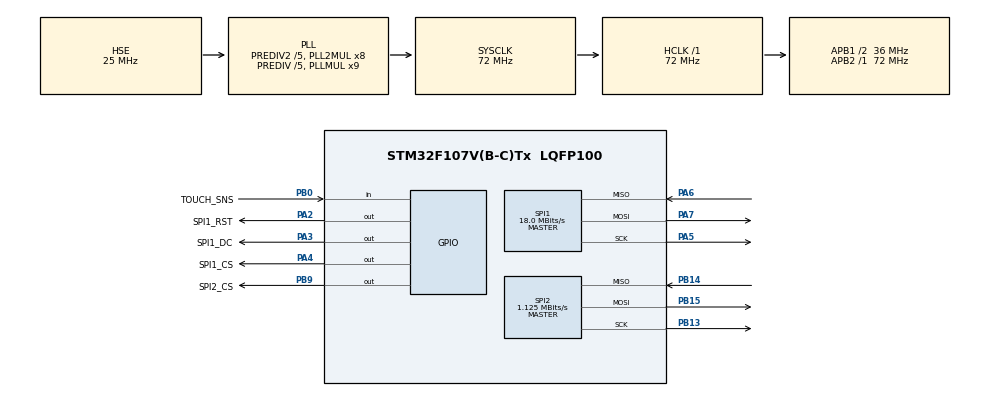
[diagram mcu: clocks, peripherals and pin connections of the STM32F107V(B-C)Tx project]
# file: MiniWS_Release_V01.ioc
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Mcu.Family=STM32F1
Mcu.Name=STM32F107V(B-C)Tx
Mcu.Package=LQFP100
NVIC.PriorityGroup=NVIC_PRIORITYGROUP_4
OSC_IN.Mode=HSE-External-Oscillator
OSC_IN.Signal=RCC_OSC_IN
OSC_OUT.Mode=HSE-External-Oscillator
OSC_OUT.Signal=RCC_OSC_OUT
PA13.Mode=Serial_Wire
PA13.Signal=SYS_JTMS-SWDIO
PA14.Mode=Serial_Wire
PA14.Signal=SYS_JTCK-SWCLK
PA2.GPIO_Label=SPI1_RST
PA2.Signal=GPIO_Output
PA3.GPIO_Label=SPI1_DC
PA3.Signal=GPIO_Output
PA4.GPIO_Label=SPI1_CS
PA4.Signal=GPIO_Output
PA5.Mode=Full_Duplex_Master
PA5.Signal=SPI1_SCK
PA6.Mode=Full_Duplex_Master
PA6.Signal=SPI1_MISO
PA7.Mode=Full_Duplex_Master
PA7.Signal=SPI1_MOSI
PB0.GPIO_Label=TOUCH_SNS
PB0.Signal=GPIO_Input
PB13.Mode=Full_Duplex_Master
PB13.Signal=SPI2_SCK
PB14.Mode=Full_Duplex_Master
PB14.Signal=SPI2_MISO
PB15.Mode=Full_Duplex_Master
PB15.Signal=SPI2_MOSI
PB9.GPIO_Label=SPI2_CS
PB9.Signal=GPIO_Output
PC14-OSC32_IN.Mode=LSE-External-Oscillator
PC14-OSC32_IN.Signal=RCC_OSC32_IN
PC15-OSC32_OUT.Mode=LSE-External-Oscillator
PC15-OSC32_OUT.Signal=RCC_OSC32_OUT
ProjectManager.HeapSize=0x200
ProjectManager.StackSize=0x400
ProjectManager.TargetToolchain=SW4STM32
RCC.AHBFreq_Value=72000000
RCC.APB1CLKDivider=RCC_HCLK_DIV2
RCC.APB1Freq_Value=36000000
RCC.APB1TimFreq_Value=72000000
RCC.APB2Freq_Value=72000000
RCC.APB2TimFreq_Value=72000000
RCC.HCLKFreq_Value=72000000
RCC.HSEDivPLL=RCC_HSE_PREDIV_DIV5
RCC.HSE_VALUE=25000000
RCC.PLLMUL=RCC_PLL_MUL9
RCC.PLLSourceVirtual=RCC_PLLSOURCE_HSE
RCC.Prediv1Source=RCC_PREDIV1_SOURCE_PLL2
RCC.Prediv2=RCC_HSE_PREDIV2_DIV5
RCC.SYSCLKFreq_VALUE=72000000
RCC.SYSCLKSource=RCC_SYSCLKSOURCE_PLLCLK
RCC.USBFreq_Value=48000000
SPI1.BaudRatePrescaler=SPI_BAUDRATEPRESCALER_4
SPI1.CalculateBaudRate=18.0 MBits/s
SPI1.Direction=SPI_DIRECTION_2LINES
SPI1.Mode=SPI_MODE_MASTER
SPI1.VirtualType=VM_MASTER
SPI2.BaudRatePrescaler=SPI_BAUDRATEPRESCALER_32
SPI2.CalculateBaudRate=1.125 MBits/s
SPI2.Direction=SPI_DIRECTION_2LINES
SPI2.Mode=SPI_MODE_MASTER
SPI2.VirtualType=VM_MASTER
board=custom

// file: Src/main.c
/* USER CODE BEGIN Header */
/**
  ******************************************************************************
  * @file           : main.c
  * @brief          : Main program body
  ******************************************************************************
  * @attention
  *
  * <h2><center>&copy; Copyright (c) 2019 STMicroelectronics.
  * All rights reserved.</center></h2>
  *
  * This software component is licensed by ST under BSD 3-Clause license,
  * the "License"; You may not use this file except in compliance with the
  * License. You may obtain a copy of the License at:
  *                        opensource.org/licenses/BSD-3-Clause
  *
  ******************************************************************************
  */
/* USER CODE END Header */

#include "main.h"

/* USER CODE BEGIN Includes */

#include "bme280.h"
#include "gfx.h"
#include "ssd1351.h"
//#include "OLEDGFX.h"
#include "UI.h"

/* USER CODE END Includes */

/* USER CODE BEGIN PD */

#define UI_TEMP_STD 0
#define UI_HUM_STD  1
#define UI_PRES_STD 2
#define UI_OVERVIEW 3
#define UI_TEMP_ADV 4
#define UI_HUM_ADV  5
#define UI_PRES_ADV 6

#define TIME_LONGCLICK 300000

/* USER CODE END PD */

SPI_HandleTypeDef hspi1;
SPI_HandleTypeDef hspi2;

/* USER CODE BEGIN PV */

extern Colors colors;

int8_t rslt = BME280_OK;

struct bme280_dev dev;
struct bme280_data comp_data;

sens_data sdata_all = {0,0,0};

uint16_t datacounter = 595;
uint8_t datachanged = 0;

/* USER CODE END PV */

void SystemClock_Config(void);
static void MX_GPIO_Init(void);
static void MX_SPI1_Init(void);
static void MX_SPI2_Init(void);

/* USER CODE BEGIN 0 */

void user_delay_ms(uint32_t period)
{
    /*
     * Return control or wait,
     * for a period amount of milliseconds
     */

   HAL_Delay(period);

}

int8_t user_spi_read(uint8_t dev_id, uint8_t reg_addr, uint8_t *reg_data, uint16_t len)
{
    int8_t rslt = 0; /* Return 0 for Success, non-zero for failure */

   uint8_t TxDataBuff[1];
      TxDataBuff[0] = reg_addr;

    /*
     * The parameter dev_id can be used as a variable to select which Chip Select pin has
     * to be set low to activate the relevant device on the SPI bus
     */

    /*
     * Data on the bus should be like
     * |----------------+---------------------+-------------|
     * | MOSI           | MISO                | Chip Select |
     * |----------------+---------------------|-------------|
     * | (don't care)   | (don't care)        | HIGH        |
     * | (reg_addr)     | (don't care)        | LOW         |
     * | (don't care)   | (reg_data[0])       | LOW         |
     * | (....)         | (....)              | LOW         |
     * | (don't care)   | (reg_data[len - 1]) | LOW         |
     * | (don't care)   | (don't care)        | HIGH        |
     * |----------------+---------------------|-------------|
     */

   HAL_GPIO_WritePin(GPIOB, GPIO_PIN_9, GPIO_PIN_RESET);

   HAL_SPI_Transmit(&hspi2, TxDataBuff, 1, 1000);
   HAL_SPI_Receive(&hspi2, reg_data, len, 1000);

   HAL_GPIO_WritePin(GPIOB, GPIO_PIN_9, GPIO_PIN_SET);

    return rslt;
}

int8_t user_spi_write(uint8_t dev_id, uint8_t reg_addr, uint8_t *reg_data, uint16_t len)
{
    int8_t rslt = 0; /* Return 0 for Success, non-zero for failure */
   uint16_t Ctr = 0;
    uint16_t Ctr2 = 0;
   uint8_t TxDataBuff[20];

    if(len < 11)
    {

        for(Ctr = 0; Ctr < len; Ctr++)
        {
            for(Ctr2 = 0; Ctr2 < 2; Ctr2++)
            {
                if(Ctr2 == 0)
                {
                    TxDataBuff[Ctr] = reg_addr++;
                }
                else
                {
                    TxDataBuff[Ctr + 1] = reg_data[Ctr];
                }
            }
        }
    }

    /*
     * The parameter dev_id can be used as a variable to select which Chip Select pin has
     * to be set low to activate the relevant device on the SPI bus
     */

    /*
     * Data on the bus should be like
     * |---------------------+--------------+-------------|
     * | MOSI                | MISO         | Chip Select |
     * |---------------------+--------------|-------------|
     * | (don't care)        | (don't care) | HIGH        |
     * | (reg_addr)          | (don't care) | LOW         |
     * | (reg_data[0])       | (don't care) | LOW         |
     * | (....)              | (....)       | LOW         |
     * | (reg_data[len - 1]) | (don't care) | LOW         |
     * | (don't care)        | (don't care) | HIGH        |
     * |---------------------+--------------|-------------|
     */

   HAL_GPIO_WritePin(GPIOB, GPIO_PIN_9, GPIO_PIN_RESET);

   HAL_SPI_Transmit(&hspi2, TxDataBuff, 2 * len, 1000);

   HAL_GPIO_WritePin(GPIOB, GPIO_PIN_9, GPIO_PIN_SET);

    return rslt;
}

void pin_cs(uint8_t pinstate)
{
	HAL_GPIO_WritePin(GPIOA, OLED_CS, pinstate);
}

void pin_dc(uint8_t pinstate)
{
	HAL_GPIO_WritePin(GPIOA, OLED_DC, pinstate);
}

void pin_rs(uint8_t pinstate)
{
	HAL_GPIO_WritePin(GPIOA, OLED_RESET, pinstate);
}

void transmit_data(uint8_t *data, uint32_t len)
{
	HAL_SPI_Transmit(&hspi1, data, len, 1000);
}

void init_RTC(void)
{
    RCC->APB1ENR |= RCC_APB1ENR_BKPEN | RCC_APB1ENR_PWREN;

    PWR->CR |= PWR_CR_DBP;

    RCC->BDCR |= RCC_BDCR_LSEON;

    while(!READ_BIT(RCC->BDCR, RCC_BDCR_LSERDY));

    MODIFY_REG(RCC->BDCR, RCC_BDCR_RTCSEL, RCC_BDCR_RTCSEL_LSE);

    RCC->BDCR |= RCC_BDCR_RTCEN;

    while(!READ_BIT(RTC->CRL, RTC_CRL_RSF));

    while(!READ_BIT(RTC->CRL, RTC_CRL_RTOFF));

    SET_BIT(RTC->CRH, RTC_CRH_SECIE);

    while(!READ_BIT(RTC->CRL, RTC_CRL_RTOFF));

    SET_BIT(RTC->CRL,RTC_CRL_CNF);

    RTC->PRLL=32767;
    RTC->PRLH=0;

    CLEAR_BIT(RTC->CRL,RTC_CRL_CNF);

    while(!READ_BIT(RTC->CRL, RTC_CRL_RTOFF));

    NVIC_EnableIRQ(RTC_IRQn);
}

void RTC_IRQHandler(void)
{
    CLEAR_BIT(RTC->CRL, RTC_CRL_SECF);

    rslt = bme280_get_sensor_data(BME280_ALL, &comp_data, &dev);

    sdata_all.temperature = comp_data.temperature;
    sdata_all.humidity = comp_data.humidity;
    sdata_all.pressure = comp_data.pressure;

    if(datacounter++ == 599)
    {
        histogram_add_data(&sdata_all);
        datacounter = 0;
    }

    datachanged = 1;
}
/* USER CODE END 0 */

int main(void)
{

	/* MCU Configuration--------------------------------------------------------*/

	/* Reset of all peripherals, Initializes the Flash interface and the Systick. */
	HAL_Init();

	/* USER CODE BEGIN Init */

	s_ssd1351 fnptrs_main;
//	struct bme280_dev dev;
//	struct bme280_data comp_data;
//	int8_t rslt = BME280_OK;
	uint8_t settings_sel;

	uint8_t ui_selected = UI_OVERVIEW;

	uint32_t touch_counter = 0;
	uint8_t last_touch_info = 0;

	uint8_t beenhere = 0;
	uint8_t laststate = 0xFF;

//	sens_data sdata_all = {0,0,0};

//	int32_t temperature = 0;
//	uint32_t humidity = 0;
//	uint32_t pressure = 0;

//	uint16_t datacounter = 0;
//	uint8_t datachanged = 0;

	/* Sensor_0 interface over SPI with native chip select line */
	dev.dev_id = 0;
	dev.intf = BME280_SPI_INTF;
	dev.read = user_spi_read;
	dev.write = user_spi_write;
	dev.delay_ms = user_delay_ms;

	fnptrs_main.pin_cs = pin_cs;
	fnptrs_main.pin_rs = pin_rs;
	fnptrs_main.pin_dc = pin_dc;
	fnptrs_main.transmit_data = transmit_data;
	fnptrs_main.delay = user_delay_ms;

	/* Recommended mode of operation: Indoor navigation */
	dev.settings.osr_h = BME280_OVERSAMPLING_1X;
	dev.settings.osr_p = BME280_OVERSAMPLING_16X;
	dev.settings.osr_t = BME280_OVERSAMPLING_2X;
	dev.settings.filter = BME280_FILTER_COEFF_16;
	dev.settings.standby_time = BME280_STANDBY_TIME_1000_MS;

	settings_sel = BME280_OSR_PRESS_SEL | BME280_OSR_TEMP_SEL | BME280_OSR_HUM_SEL | BME280_FILTER_SEL | BME280_STANDBY_SEL;

  /* USER CODE END Init */

  /* Configure the system clock */
	SystemClock_Config();

	/* USER CODE BEGIN SysInit */

	init_RTC();

	/* USER CODE END SysInit */

	/* Initialize all configured peripherals */
	MX_GPIO_Init();
	MX_SPI1_Init();
	MX_SPI2_Init();
	/* USER CODE BEGIN 2 */
	//	DisplayInit();
	init_oled(1,1, &fnptrs_main);
	//	BlankScreen(colors.blue);

	blankscreen(colors.black);

	rslt = bme280_init(&dev);

	//    rslt = stream_sensor_data_forced_mode(&dev);

	rslt = bme280_set_sensor_settings(settings_sel, &dev);
	rslt = bme280_set_sensor_mode(BME280_NORMAL_MODE, &dev);

	//TODO: implement timer interrupt for measuring (~1 second interrupt, save every 60th measurement for histograms) (may not be needed due to automatic periodic measuring on BME280)

  /* USER CODE END 2 */

  /* Infinite loop */
  /* USER CODE BEGIN WHILE */
	while (42)
	{

	    switch(ui_selected)
	    {

	    case UI_TEMP_STD:

	        if((laststate != UI_TEMP_STD) || datachanged)
	        {

	            filled_rect_xy_ab(0,0,128,128,colors.black, 0);
                UI_display_temperature(sdata_all.temperature);

                datachanged = 0;

	        }
	        laststate = UI_TEMP_STD;
	        break;

	    case UI_HUM_STD:

	        if((laststate != UI_HUM_STD) || datachanged)
	        {
	            filled_rect_xy_ab(0,0,128,128,colors.black, 0);

                UI_display_humidity(sdata_all.humidity);

                datachanged = 0;

	        }
	        laststate = UI_HUM_STD;
	        break;

	    case UI_PRES_STD:

	        if((laststate != UI_PRES_STD) || datachanged)
	        {
	            filled_rect_xy_ab(0,0,128,128,colors.black, 0);

                UI_display_pressure(sdata_all.pressure);

                datachanged = 0;

	        }
	        laststate = UI_PRES_STD;
	        break;

	    case UI_OVERVIEW:

	        if((laststate != UI_OVERVIEW) || datachanged)
	        {

	            if((datacounter == 1) || (laststate != UI_OVERVIEW))
	                histogram_display_overview();

	            histogram_display_overhead(OH_OVW, &sdata_all);

                datachanged = 0;
	        }
	        laststate = UI_OVERVIEW;
	        break;

        case UI_TEMP_ADV:

            if((laststate != UI_TEMP_ADV) || datachanged)
            {
                if((datacounter == 1) || (laststate != UI_TEMP_ADV))
                    histogram_display_single(TEMPERATURE);

                histogram_display_overhead(TEMPERATURE, &sdata_all);
                datachanged = 0;

            }
            laststate = UI_TEMP_ADV;
            break;

        case UI_HUM_ADV:

            if((laststate != UI_HUM_ADV)  || datachanged)
            {
                if((datacounter == 1) || (laststate != UI_HUM_ADV))
                    histogram_display_single(HUMIDITY);

                histogram_display_overhead(HUMIDITY, &sdata_all);
                datachanged = 0;

            }
            laststate = UI_HUM_ADV;
            break;

        case UI_PRES_ADV:

            if((laststate != UI_PRES_ADV)  || datachanged)
            {
                if((datacounter == 1) || (laststate != UI_PRES_ADV))
                    histogram_display_single(PRESSURE);

                histogram_display_overhead(PRESSURE, &sdata_all);

                datachanged = 0;

            }
            laststate = UI_PRES_ADV;
            break;

	    default:

	        blankscreen(colors.white);

	        stringxy("DEFAULT",10, 60, colors.black, colors.yellow, 0, 1);
	        break;
	    }

	    if(HAL_GPIO_ReadPin(GPIOB, TOUCH_SNS_Pin) && (touch_counter < 0xFFFFFFFF))
	    {
	        touch_counter++;
	        last_touch_info = 1;
	    }
	    else
	    {
	        if((touch_counter < TIME_LONGCLICK) && !HAL_GPIO_ReadPin(GPIOB, TOUCH_SNS_Pin) && last_touch_info)
	        {
	            if(ui_selected < UI_OVERVIEW) ui_selected++;
	            else if(ui_selected == UI_OVERVIEW) ui_selected = UI_TEMP_STD;
	            touch_counter = 0;
	            last_touch_info = 0;
	        }
	        else if(touch_counter >= TIME_LONGCLICK && !HAL_GPIO_ReadPin(GPIOB, TOUCH_SNS_Pin) && last_touch_info)
	        {
	            if(ui_selected < UI_OVERVIEW)
	            {
	                ui_selected += 4;
	                touch_counter = 0;
	                last_touch_info = 0;
	            }
	            else if(ui_selected > UI_OVERVIEW)
	            {
	                ui_selected -= 4;
	                touch_counter = 0;
	                last_touch_info = 0;
	            }
	        }
	        touch_counter = 0;
	        last_touch_info = 0;
	    }

	/* USER CODE END WHILE */

	}
}

void SystemClock_Config(void)
{
  RCC_OscInitTypeDef RCC_OscInitStruct = {0};
  RCC_ClkInitTypeDef RCC_ClkInitStruct = {0};

  /** Initializes the CPU, AHB and APB busses clocks
  */
  RCC_OscInitStruct.OscillatorType = RCC_OSCILLATORTYPE_HSE;
  RCC_OscInitStruct.HSEState = RCC_HSE_ON;
  RCC_OscInitStruct.HSEPredivValue = RCC_HSE_PREDIV_DIV5;
  RCC_OscInitStruct.HSIState = RCC_HSI_ON;
  RCC_OscInitStruct.Prediv1Source = RCC_PREDIV1_SOURCE_PLL2;
  RCC_OscInitStruct.PLL.PLLState = RCC_PLL_ON;
  RCC_OscInitStruct.PLL.PLLSource = RCC_PLLSOURCE_HSE;
  RCC_OscInitStruct.PLL.PLLMUL = RCC_PLL_MUL9;
  RCC_OscInitStruct.PLL2.PLL2State = RCC_PLL2_ON;
  RCC_OscInitStruct.PLL2.PLL2MUL = RCC_PLL2_MUL8;
  RCC_OscInitStruct.PLL2.HSEPrediv2Value = RCC_HSE_PREDIV2_DIV5;
  if (HAL_RCC_OscConfig(&RCC_OscInitStruct) != HAL_OK)
  {
    Error_Handler();
  }
  /** Initializes the CPU, AHB and APB busses clocks
  */
  RCC_ClkInitStruct.ClockType = RCC_CLOCKTYPE_HCLK|RCC_CLOCKTYPE_SYSCLK
                              |RCC_CLOCKTYPE_PCLK1|RCC_CLOCKTYPE_PCLK2;
  RCC_ClkInitStruct.SYSCLKSource = RCC_SYSCLKSOURCE_PLLCLK;
  RCC_ClkInitStruct.AHBCLKDivider = RCC_SYSCLK_DIV1;
  RCC_ClkInitStruct.APB1CLKDivider = RCC_HCLK_DIV2;
  RCC_ClkInitStruct.APB2CLKDivider = RCC_HCLK_DIV1;

  if (HAL_RCC_ClockConfig(&RCC_ClkInitStruct, FLASH_LATENCY_2) != HAL_OK)
  {
    Error_Handler();
  }
  /** Configure the Systick interrupt time
  */
  __HAL_RCC_PLLI2S_ENABLE();
}

static void MX_SPI1_Init(void)
{

  /* SPI1 parameter configuration*/
  hspi1.Instance = SPI1;
  hspi1.Init.Mode = SPI_MODE_MASTER;
  hspi1.Init.Direction = SPI_DIRECTION_2LINES;
  hspi1.Init.DataSize = SPI_DATASIZE_8BIT;
  hspi1.Init.CLKPolarity = SPI_POLARITY_LOW;
  hspi1.Init.CLKPhase = SPI_PHASE_1EDGE;
  hspi1.Init.NSS = SPI_NSS_SOFT;
  hspi1.Init.BaudRatePrescaler = SPI_BAUDRATEPRESCALER_4;
  hspi1.Init.FirstBit = SPI_FIRSTBIT_MSB;
  hspi1.Init.TIMode = SPI_TIMODE_DISABLE;
  hspi1.Init.CRCCalculation = SPI_CRCCALCULATION_DISABLE;
  hspi1.Init.CRCPolynomial = 10;
  if (HAL_SPI_Init(&hspi1) != HAL_OK)
  {
    Error_Handler();
  }

}

static void MX_SPI2_Init(void)
{

  /* SPI2 parameter configuration*/
  hspi2.Instance = SPI2;
  hspi2.Init.Mode = SPI_MODE_MASTER;
  hspi2.Init.Direction = SPI_DIRECTION_2LINES;
  hspi2.Init.DataSize = SPI_DATASIZE_8BIT;
  hspi2.Init.CLKPolarity = SPI_POLARITY_LOW;
  hspi2.Init.CLKPhase = SPI_PHASE_1EDGE;
  hspi2.Init.NSS = SPI_NSS_SOFT;
  hspi2.Init.BaudRatePrescaler = SPI_BAUDRATEPRESCALER_32;
  hspi2.Init.FirstBit = SPI_FIRSTBIT_MSB;
  hspi2.Init.TIMode = SPI_TIMODE_DISABLE;
  hspi2.Init.CRCCalculation = SPI_CRCCALCULATION_DISABLE;
  hspi2.Init.CRCPolynomial = 10;
  if (HAL_SPI_Init(&hspi2) != HAL_OK)
  {
    Error_Handler();
  }

}

static void MX_GPIO_Init(void)
{
  GPIO_InitTypeDef GPIO_InitStruct = {0};

  /* GPIO Ports Clock Enable */
  __HAL_RCC_GPIOC_CLK_ENABLE();
  __HAL_RCC_GPIOA_CLK_ENABLE();
  __HAL_RCC_GPIOB_CLK_ENABLE();

  /*Configure GPIO pin Output Level */
  HAL_GPIO_WritePin(GPIOA, SPI1_RST_Pin|SPI1_DC_Pin|SPI1_CS_Pin, GPIO_PIN_RESET);

  /*Configure GPIO pin Output Level */
  HAL_GPIO_WritePin(SPI2_CS_GPIO_Port, SPI2_CS_Pin, GPIO_PIN_RESET);

  /*Configure GPIO pins : SPI1_RST_Pin SPI1_DC_Pin SPI1_CS_Pin */
  GPIO_InitStruct.Pin = SPI1_RST_Pin|SPI1_DC_Pin|SPI1_CS_Pin;
  GPIO_InitStruct.Mode = GPIO_MODE_OUTPUT_PP;
  GPIO_InitStruct.Pull = GPIO_NOPULL;
  GPIO_InitStruct.Speed = GPIO_SPEED_FREQ_LOW;
  HAL_GPIO_Init(GPIOA, &GPIO_InitStruct);

  /*Configure GPIO pin : TOUCH_SNS_Pin */
  GPIO_InitStruct.Pin = TOUCH_SNS_Pin;
  GPIO_InitStruct.Mode = GPIO_MODE_INPUT;
  GPIO_InitStruct.Pull = GPIO_NOPULL;
  HAL_GPIO_Init(TOUCH_SNS_GPIO_Port, &GPIO_InitStruct);

  /*Configure GPIO pin : SPI2_CS_Pin */
  GPIO_InitStruct.Pin = SPI2_CS_Pin;
  GPIO_InitStruct.Mode = GPIO_MODE_OUTPUT_PP;
  GPIO_InitStruct.Pull = GPIO_NOPULL;
  GPIO_InitStruct.Speed = GPIO_SPEED_FREQ_LOW;
  HAL_GPIO_Init(SPI2_CS_GPIO_Port, &GPIO_InitStruct);

}

void Error_Handler(void)
{
}

/************************ (C) COPYRIGHT STMicroelectronics *****END OF FILE****/
